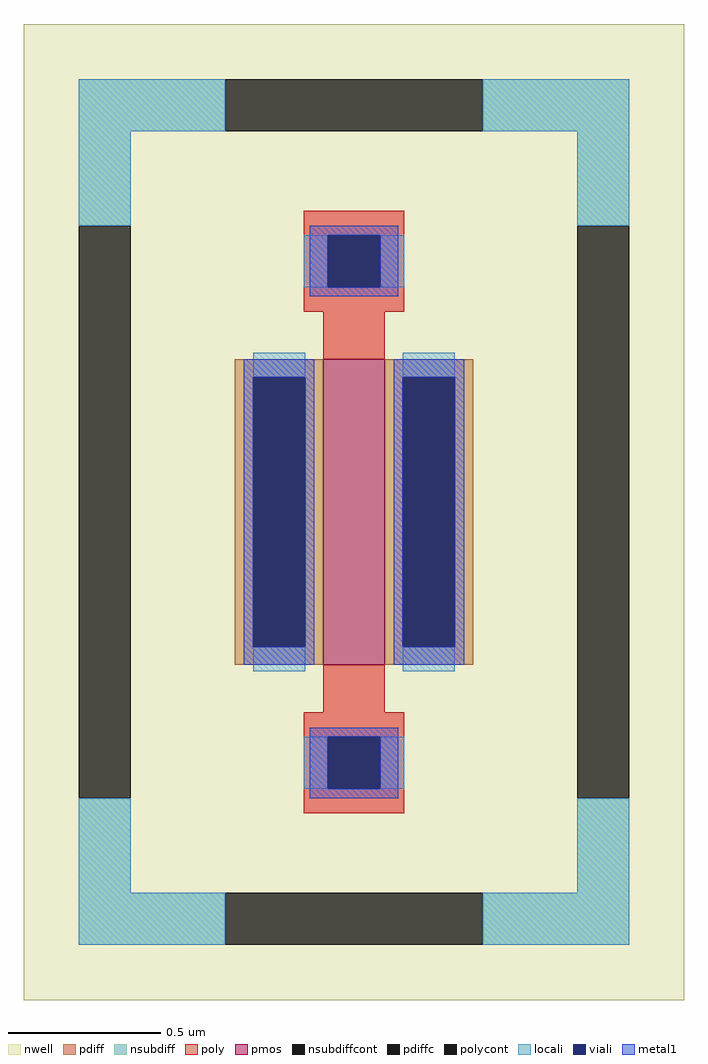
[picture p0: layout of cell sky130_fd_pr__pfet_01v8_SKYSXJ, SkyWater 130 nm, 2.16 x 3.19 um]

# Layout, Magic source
magic
tech sky130A
magscale 1 2
<< nwell >>
rect -216 -319 216 319
<< pmos >>
rect -20 -100 20 100
<< pdiff >>
rect -78 88 -20 100
rect -78 -88 -66 88
rect -32 -88 -20 88
rect -78 -100 -20 -88
rect 20 88 78 100
rect 20 -88 32 88
rect 66 -88 78 88
rect 20 -100 78 -88
<< pdiffc >>
rect -66 -88 -32 88
rect 32 -88 66 88
<< nsubdiff >>
rect -180 249 -84 283
rect 84 249 180 283
rect -180 187 -146 249
rect 146 187 180 249
rect -180 -249 -146 -187
rect 146 -249 180 -187
rect -180 -283 -84 -249
rect 84 -283 180 -249
<< nsubdiffcont >>
rect -84 249 84 283
rect -180 -187 -146 187
rect 146 -187 180 187
rect -84 -283 84 -249
<< poly >>
rect -33 181 33 197
rect -33 147 -17 181
rect 17 147 33 181
rect -33 131 33 147
rect -20 100 20 131
rect -20 -131 20 -100
rect -33 -147 33 -131
rect -33 -181 -17 -147
rect 17 -181 33 -147
rect -33 -197 33 -181
<< polycont >>
rect -17 147 17 181
rect -17 -181 17 -147
<< locali >>
rect -180 249 -84 283
rect 84 249 180 283
rect -180 187 -146 249
rect 146 187 180 249
rect -33 147 -17 181
rect 17 147 33 181
rect -66 88 -32 104
rect -66 -104 -32 -88
rect 32 88 66 104
rect 32 -104 66 -88
rect -33 -181 -17 -147
rect 17 -181 33 -147
rect -180 -249 -146 -187
rect 146 -249 180 -187
rect -180 -283 -84 -249
rect 84 -283 180 -249
<< viali >>
rect -17 147 17 181
rect -66 -88 -32 88
rect 32 -88 66 88
rect -17 -181 17 -147
<< metal1 >>
rect -29 181 29 187
rect -29 147 -17 181
rect 17 147 29 181
rect -29 141 29 147
rect -72 88 -26 100
rect -72 -88 -66 88
rect -32 -88 -26 88
rect -72 -100 -26 -88
rect 26 88 72 100
rect 26 -88 32 88
rect 66 -88 72 88
rect 26 -100 72 -88
rect -29 -147 29 -141
rect -29 -181 -17 -147
rect 17 -181 29 -147
rect -29 -187 29 -181
<< properties >>
string FIXED_BBOX -163 -266 163 266
string gencell sky130_fd_pr__pfet_01v8
string library sky130
string parameters w 1.0 l 0.2 m 1 nf 1 diffcov 100 polycov 100 guard 1 glc 1 grc 1 gtc 1 gbc 1 tbcov 100 rlcov 100 topc 1 botc 1 poverlap 0 doverlap 1 lmin 0.15 wmin 0.42 compatible {sky130_fd_pr__pfet_01v8  sky130_fd_pr__pfet_01v8_lvt sky130_fd_pr__pfet_01v8_hvt  sky130_fd_pr__pfet_g5v0d10v5} full_metal 1 viasrc 100 viadrn 100 viagate 100 viagb 0 viagr 0 viagl 0 viagt 0
<< end >>
